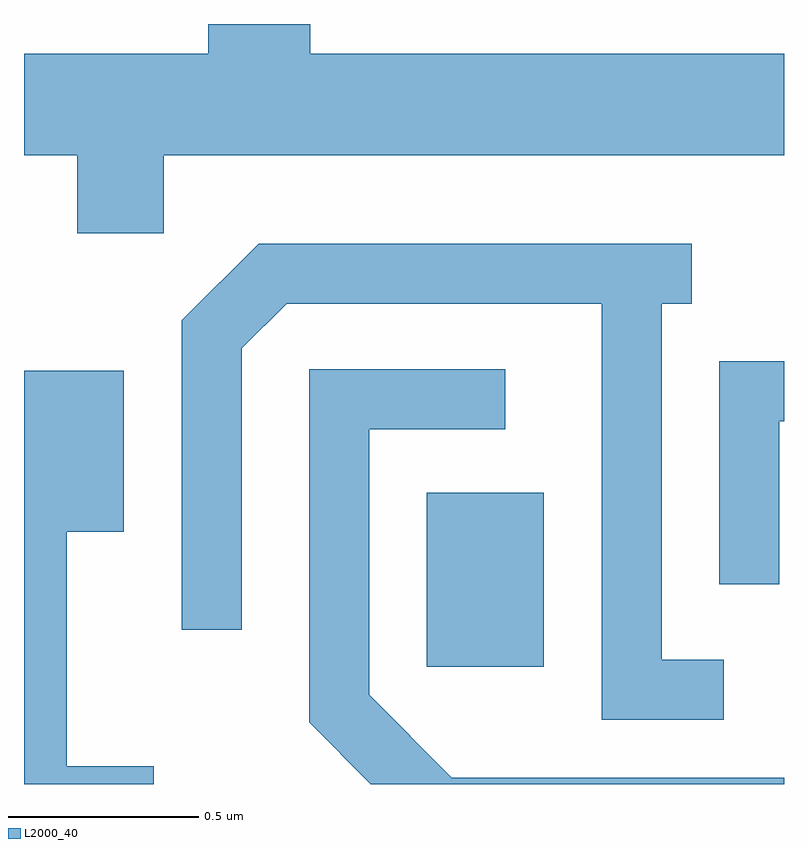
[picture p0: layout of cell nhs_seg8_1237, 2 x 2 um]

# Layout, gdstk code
import gdstk
lib = gdstk.Library(unit=1e-6, precision=1e-09)
def R(c, l, rs):  # rectangles x0, y0, x1, y1
    for r in rs: c.add(gdstk.rectangle(r[:2], r[2:], *l))
def P(c, l, *ps):  # polygons
    for p in ps: c.add(gdstk.Polygon(p, *l))
L2000_40 = (2000, 40)

nhs_seg8_1237 = lib.new_cell('nhs_seg8_1237')
R(nhs_seg8_1237, L2000_40, [(195.671,1810.651,195.979,1811.109)])
P(nhs_seg8_1237, L2000_40, [(194.979,1811.996),(196.611,1811.996),(196.611,1812.264),(195.364,1812.264),(195.364,1812.342),(195.096,1812.342),(195.096,1812.264),(194.611,1812.264),(194.611,1811.996),(194.751,1811.996),(194.751,1811.791),(194.979,1811.791)],
  [(196.453,1810.669),(196.289,1810.669),(196.289,1811.606),(196.368,1811.606),(196.368,1811.764),(195.229,1811.764),(195.026,1811.562),(195.026,1810.748),(195.184,1810.748),(195.184,1811.489),(195.302,1811.606),(196.131,1811.606),(196.131,1810.511),(196.453,1810.511)],
  [(196.599,1811.296),(196.611,1811.296),(196.611,1811.454),(196.441,1811.454),(196.441,1810.868),(196.599,1810.868)],
  [(196.611,1810.359),(195.737,1810.359),(195.519,1810.577),(195.519,1811.276),(195.878,1811.276),(195.878,1811.434),(195.361,1811.434),(195.361,1810.504),(195.523,1810.342),(196.611,1810.342)],
  [(194.953,1810.389),(194.724,1810.389),(194.724,1811.006),(194.874,1811.006),(194.874,1811.429),(194.611,1811.429),(194.611,1810.342),(194.953,1810.342)])

lib.write_gds('nhs_seg8_1237.gds')
